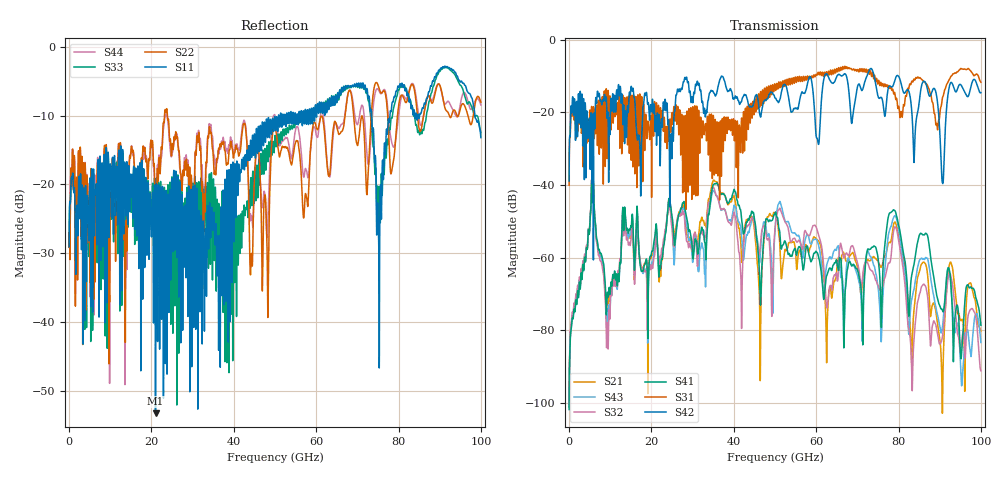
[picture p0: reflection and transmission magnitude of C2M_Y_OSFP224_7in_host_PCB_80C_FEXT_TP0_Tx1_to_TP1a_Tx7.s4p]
# GHz S RI R 45
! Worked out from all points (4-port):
!   4000 points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, 25 MHz to 100 GHz, reference 45 ohm
!   strongest paths, dB at 25 MHz, 25.02 GHz, 50.02 GHz, 75.03 GHz, 100 GHz:
!     S42: -38.9, -28.8, -16.1, -15.6, -14.6
!     S31: -40.1, -20.2, -12.5, -11.9, -11.7
!     S41: -101.8, -48.7, -47.8, -60.1, -78.6
!     S32: -100.3, -51.8, -52.0, -67.6, -91.2
!     S43: -101.1, -51.5, -52.2, -68.0, -83.4
!     S21: -101.1, -49.0, -47.6, -61.1, -80.2
!   lowest |S11| = -53.2 dB at 21 GHz (marker M1), VSWR 1.00, Z = 45.2 + j0.000913 ohm
!   |S11| at or under -10 dB: start of sweep to 50.87 GHz; 73.49 GHz to 77.89 GHz (4.409 GHz wide, 5.83 % of centre); 98.55 GHz to end of sweep (the widest 3 of 25)
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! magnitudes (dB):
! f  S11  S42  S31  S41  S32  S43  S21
! 25 MHz  -29.0  -38.9  -40.1  -101.8  -100.3  -101.1  -101.1
! 5.625 GHz  -20.2  -25.1  -22.0  -44.3  -44.2  -44.3  -44.2
! 9.425 GHz  -16.1  -19.9  -14.7  -70.0  -80.9  -75.4  -71.4
! 21 GHz  -53.2  -22.1  -24.5  -52.1  -55.9  -54.2  -53.3
! 75.72 GHz  -21.3  -15.9  -11.8  -74.3  -69.3  -81.6  -62.7
! 79.12 GHz  -7.3  -11.1  -14.8  -47.1  -51.5  -48.5  -50.2
! 100 GHz  -13.2  -14.6  -11.7  -78.6  -91.2  -83.4  -80.2
